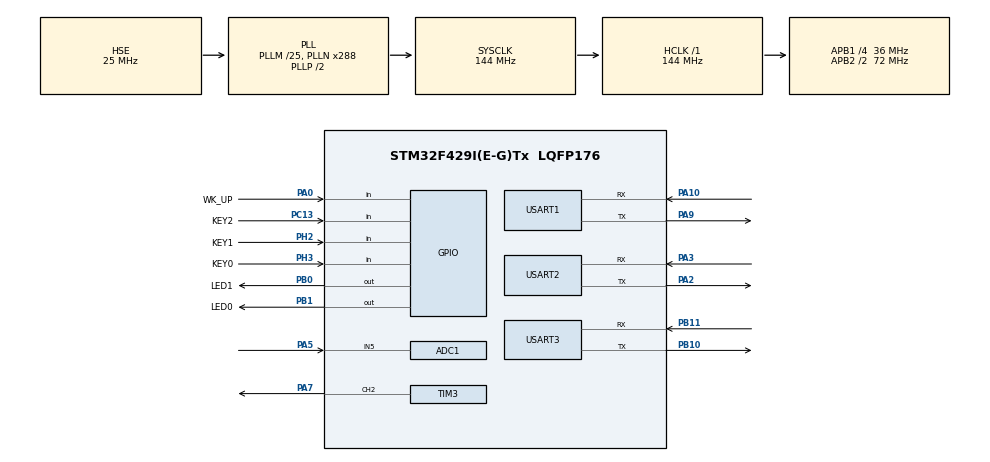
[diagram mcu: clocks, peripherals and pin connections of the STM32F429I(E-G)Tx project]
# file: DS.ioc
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ADC1.Channel-0\#ChannelRegularConversion=ADC_CHANNEL_5
ADC1.DMAContinuousRequests=DISABLE
ADC1.ExternalTrigConv=ADC_EXTERNALTRIGCONV_T2_CC2
ADC1.NbrOfConversionFlag=1
ADC1.Rank-0\#ChannelRegularConversion=1
ADC1.SamplingTime-0\#ChannelRegularConversion=ADC_SAMPLETIME_3CYCLES
ADC1.master=1
Dma.ADC1.0.Direction=DMA_PERIPH_TO_MEMORY
Dma.ADC1.0.FIFOMode=DMA_FIFOMODE_DISABLE
Dma.ADC1.0.Instance=DMA2_Stream0
Dma.ADC1.0.MemDataAlignment=DMA_MDATAALIGN_HALFWORD
Dma.ADC1.0.MemInc=DMA_MINC_ENABLE
Dma.ADC1.0.Mode=DMA_NORMAL
Dma.ADC1.0.PeriphDataAlignment=DMA_PDATAALIGN_HALFWORD
Dma.ADC1.0.PeriphInc=DMA_PINC_DISABLE
Dma.ADC1.0.Priority=DMA_PRIORITY_LOW
Dma.Request0=ADC1
Mcu.Family=STM32F4
Mcu.Name=STM32F429I(E-G)Tx
Mcu.Package=LQFP176
NVIC.ADC_IRQn=true\:0\:0\:false\:false\:true\:true\:true\:true
NVIC.DMA2_Stream0_IRQn=true\:0\:0\:false\:false\:true\:false\:true\:true
NVIC.PriorityGroup=NVIC_PRIORITYGROUP_4
NVIC.USART2_IRQn=true\:0\:0\:false\:false\:true\:true\:true\:true
NVIC.USART3_IRQn=true\:0\:0\:false\:false\:true\:true\:true\:true
PA0/WKUP.GPIO_Label=WK_UP
PA0/WKUP.GPIO_PuPd=GPIO_PULLDOWN
PA0/WKUP.Signal=GPIO_Input
PA10.Mode=Asynchronous
PA10.Signal=USART1_RX
PA13.Mode=Serial_Wire
PA13.Signal=SYS_JTMS-SWDIO
PA14.Mode=Serial_Wire
PA14.Signal=SYS_JTCK-SWCLK
PA2.Mode=Asynchronous
PA2.Signal=USART2_TX
PA3.Mode=Asynchronous
PA3.Signal=USART2_RX
PA5.Signal=ADCx_IN5
PA7.GPIO_PuPd=GPIO_PULLDOWN
PA7.Signal=S_TIM3_CH2
PA9.Mode=Asynchronous
PA9.Signal=USART1_TX
PB0.GPIO_Label=LED1
PB0.PinState=GPIO_PIN_SET
PB0.Signal=GPIO_Output
PB1.GPIO_Label=LED0
PB1.PinState=GPIO_PIN_SET
PB1.Signal=GPIO_Output
PB10.Mode=Asynchronous
PB10.Signal=USART3_TX
PB11.Mode=Asynchronous
PB11.Signal=USART3_RX
PC13.GPIO_Label=KEY2
PC13.GPIO_PuPd=GPIO_PULLUP
PC13.Signal=GPIO_Input
PH0/OSC_IN.Mode=HSE-External-Oscillator
PH0/OSC_IN.Signal=RCC_OSC_IN
PH1/OSC_OUT.Mode=HSE-External-Oscillator
PH1/OSC_OUT.Signal=RCC_OSC_OUT
PH2.GPIO_Label=KEY1
PH2.GPIO_PuPd=GPIO_PULLUP
PH2.Signal=GPIO_Input
PH3.GPIO_Label=KEY0
PH3.GPIO_PuPd=GPIO_PULLUP
PH3.Signal=GPIO_Input
ProjectManager.HeapSize=0x200
ProjectManager.StackSize=0x400
ProjectManager.TargetToolchain=MDK-ARM V5.32
RCC.48MHZClocksFreq_Value=72000000
RCC.AHBFreq_Value=144000000
RCC.APB1CLKDivider=RCC_HCLK_DIV4
RCC.APB1Freq_Value=36000000
RCC.APB1TimFreq_Value=72000000
RCC.APB2CLKDivider=RCC_HCLK_DIV2
RCC.APB2Freq_Value=72000000
RCC.APB2TimFreq_Value=144000000
RCC.CortexFreq_Value=144000000
RCC.HCLKFreq_Value=144000000
RCC.HSE_VALUE=25000000
RCC.HSI_VALUE=16000000
RCC.LSE_VALUE=32768
RCC.PLLM=25
RCC.PLLN=288
RCC.PLLSourceVirtual=RCC_PLLSOURCE_HSE
RCC.SYSCLKFreq_VALUE=144000000
RCC.SYSCLKSource=RCC_SYSCLKSOURCE_PLLCLK
RCC.VCOOutputFreq_Value=288000000
SH.ADCx_IN5.0=ADC1_IN5,IN5
SH.S_TIM3_CH2.0=TIM3_CH2,PWM Generation2 CH2
TIM2.AutoReloadPreload=TIM_AUTORELOAD_PRELOAD_DISABLE
TIM2.Channel-PWM\ Generation2\ No\ Output=TIM_CHANNEL_2
TIM2.Period=0
TIM2.TIM_MasterOutputTrigger=TIM_TRGO_UPDATE
TIM3.Channel-PWM\ Generation2\ CH2=TIM_CHANNEL_2
TIM3.Period=200-1
TIM3.Prescaler=72-1
TIM3.Pulse-PWM\ Generation2\ CH2=100
USART1.VirtualMode=VM_ASYNC
USART2.VirtualMode=VM_ASYNC
USART3.VirtualMode=VM_ASYNC
VP_TIM2_VS_ClockSourceINT.Mode=Internal
VP_TIM2_VS_no_output2.Mode=PWM Generation2 No Output
VP_TIM3_VS_ClockSourceINT.Mode=Internal
board=custom

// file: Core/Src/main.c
/* USER CODE BEGIN Header */
/**
  ******************************************************************************
  * @file           : main.c
  * @brief          : Main program body
  ******************************************************************************
  * @attention
  *
  * Copyright (c) 2023 STMicroelectronics.
  * All rights reserved.
  *
  * This software is licensed under terms that can be found in the LICENSE file
  * in the root directory of this software component.
  * If no LICENSE file comes with this software, it is provided AS-IS.
  *
  ******************************************************************************
  */
/* USER CODE END Header */
#include "main.h"
#include "adc.h"
#include "dma.h"
#include "tim.h"
#include "usart.h"
#include "gpio.h"

/* USER CODE BEGIN Includes */
#include "delay.h"
#include "my_math.h"
#include "windowfunction.h"

#include "Key.h"
#include "UART_HMI.h"

/* USER CODE END Includes */

void SystemClock_Config(void);

/* USER CODE BEGIN 0 */
#define ASK 1
#define FSK 2
#define PSK 3

uint8_t mode=0,danfeng=0,mode_zu[100],count_ASK=0,count_PSK=0,count_FSK=0,count;
uint16_t num_zero=0;
int max_value_index=0,feng_value_index,feng_value_zu[400];
float feng_value[400],max_value=0;;
int sub_1_index,sub_2_index,sub_3_index,sub_4_index,sub_5_index;
float sub_1_value=0,sub_2_value=0,sub_3_value=0,sub_4_value=0,sub_5_value=0;

float Amplitude_Data[FFT_CALCULATE_NUM]; // 各个频率分量幅值(FFT后)	// 补0

float THDx = 0.0f;           // 失真度测量值
float NormalizedAm[4] = {0}; // 归一化幅值：2-5次谐波
float Phase[5] = {0};        // 各分量相位（占位，还没用上）
uint16_t Fx_Vpp[5] = {0};    // 幅值
uint32_t Freq_Base;
uint8_t feng_num=0;

uint8_t pwm_flag=0;

/* USER CODE END 0 */

int main(void)
{

  /* MCU Configuration--------------------------------------------------------*/

  /* Reset of all peripherals, Initializes the Flash interface and the Systick. */
  HAL_Init();

  /* Configure the system clock */
  SystemClock_Config();

  /* Initialize all configured peripherals */
  MX_GPIO_Init();
  MX_DMA_Init();
  MX_ADC1_Init();
  MX_USART1_UART_Init();
  MX_TIM2_Init();
  MX_USART2_UART_Init();
  MX_USART3_UART_Init();
  MX_TIM3_Init();
  /* USER CODE BEGIN 2 */
	delay_init(144);
	printf("HELLO\r\n");
//    HMI_printf("\xFF");
	__HAL_DMA_DISABLE_IT((&hadc1)->DMA_Handle, DMA_IT_HT);  //关掉DMA半中断

	HAL_UARTEx_ReceiveToIdle_IT(&huart2, HMI_RX.Buffer, BUFFER_SIZE);

    HAL_TIM_PWM_Start(&htim3,TIM_CHANNEL_2);

    __HAL_TIM_SetCompare(&htim3,TIM_CHANNEL_2,199);
    __HAL_TIM_SET_AUTORELOAD(&htim3,199);

//    __HAL_TIM_SetCompare(&htim3,TIM_CHANNEL_2,99);
//    __HAL_TIM_SET_AUTORELOAD(&htim3,199);
//
//    __HAL_TIM_SetCompare(&htim3,TIM_CHANNEL_2,124);
//    __HAL_TIM_SET_AUTORELOAD(&htim3,249);
  /* USER CODE END 2 */

  /* Infinite loop */
  /* USER CODE BEGIN WHILE */
  while (1)
  {
        HMI_RX_proc();
        if(pwm_flag)
        {
            switch(pwm_freq)
            {
                case 1:
                    __HAL_TIM_SetCompare(&htim3,TIM_CHANNEL_2,199);
                    __HAL_TIM_SET_AUTORELOAD(&htim3,199);
//                __HAL_TIM_SET_COUNTER(&htim3, 0xFFFF);

                break;
                case 2:
                    __HAL_TIM_SetCompare(&htim3,TIM_CHANNEL_2,166);
                    __HAL_TIM_SET_AUTORELOAD(&htim3,332);
//                __HAL_TIM_SET_COUNTER(&htim3, 0xFFFF);
                break;
                case 3:
                    __HAL_TIM_SetCompare(&htim3,TIM_CHANNEL_2,124);
                    __HAL_TIM_SET_AUTORELOAD(&htim3,249);
//                __HAL_TIM_SET_COUNTER(&htim3, 0xFFFF);
                break;
                case 4:
                    __HAL_TIM_SetCompare(&htim3,TIM_CHANNEL_2,99);
                    __HAL_TIM_SET_AUTORELOAD(&htim3,199);
//                __HAL_TIM_SET_COUNTER(&htim3, 0xFFFF);
                break;
            }
            printf("{ARR}%d\r\n",TIM3->ARR);
            printf("{pwm_freq}%d\r\n",pwm_freq);
        }
        else
        {
            __HAL_TIM_SetCompare(&htim3,TIM_CHANNEL_2,0);
            __HAL_TIM_SET_AUTORELOAD(&htim3,199);
//            __HAL_TIM_SET_COUNTER(&htim3, 0xFFFF);
        }

        if(start_flag){
            HAL_GPIO_WritePin(GPIOB, LED0_Pin, 1);
            for(int k = 0;k < 100;k++){
                Adc_Fs_Change_F(1900000);
                Adc_Start();
                Window_Function_Init(Hanning, ADC_SAMPLING_NUM); // Boxcar, Triang, Hanning, Hamming, Blackman, Flattop
                CalculateAmplitude_By_FFT(Amplitude_Data, Signal_ADC_Data);
//        		for(int i = 0; i < FFT_CALCULATE_NUM/2; i++) {
//        			printf("{Amplitude_Data}%.1f\r\n", Amplitude_Data[i]);
//        		}

                for(int i = 3,j=0; i < FFT_CALCULATE_NUM/2-500; i++) {
                    feng_value_index = Max_Float_WithinRange(Amplitude_Data, i-3, i+3);
                    if(feng_value_index==i)
                    {
                        feng_value_zu[j]=feng_value_index;
                        feng_value[j++] = Amplitude_Data[feng_value_index];
//                        printf("{feng_value}%.1f\r\n", feng_value[j-1]);
//                        printf("{feng_value_zu}%d\r\n", feng_value_zu[j-1]);
                    }
                }
                max_value_index=Max_Unsigned(Amplitude_Data,FFT_CALCULATE_NUM/2);
                max_value=Amplitude_Data[max_value_index];

                for(int i = 0; i < 400; i++)
                    if(feng_value[i]>sub_1_value)
                    {
                        if(feng_value_zu[i]!=max_value_index){
                            sub_1_value=feng_value[i];
                            sub_1_index=feng_value_zu[i];
                        }
                    }
                for(int i = 0; i < 400; i++)
                    if(feng_value[i]>sub_2_value)
                    {
                        if(feng_value_zu[i]!=max_value_index&&feng_value_zu[i]!=sub_1_index){
                        sub_2_value=feng_value[i];
                        sub_2_index=feng_value_zu[i];
                        }
                    }
                for(int i = 0; i < 400; i++)
                    if(feng_value[i]>sub_3_value)
                    {
                        if(feng_value_zu[i]!=max_value_index&&feng_value_zu[i]!=sub_1_index&&feng_value_zu[i]!=sub_2_index){
                        sub_3_value=feng_value[i];
                        sub_3_index=feng_value_zu[i];
                        }
                    }
                for(int i = 0; i < 400; i++)
                    if(feng_value[i]>sub_4_value)
                    {
                        if(feng_value_zu[i]!=max_value_index&&feng_value_zu[i]!=sub_1_index&&feng_value_zu[i]!=sub_2_index&&feng_value_zu[i]!=sub_3_index){
                        sub_4_value=feng_value[i];
                        sub_4_index=feng_value_zu[i];
                        }
                    }
                for(int i = 0; i < 400; i++)
                    if(feng_value[i]>sub_5_value)
                    {
                        if(feng_value_zu[i]!=max_value_index&&feng_value_zu[i]!=sub_1_index&&feng_value_zu[i]!=sub_2_index&&feng_value_zu[i]!=sub_3_index&&feng_value_zu[i]!=sub_4_index){
                        sub_5_value=feng_value[i];
                        sub_5_index=feng_value_zu[i];
                        }
                    }

        //        printf("{sub_1_value}%.1f",sub_1_value);
        //        printf("{sub_2_value}%.1f",sub_2_value);
        //        printf("{sub_3_value}%.1f",sub_3_value);
        //        printf("{sub_4_value}%.1f",sub_4_value);
        //        printf("{sub_5_value}%.1f",sub_5_value);
        //        printf("{max_value}%.1f",max_value);
        //
        //        printf("{sub_1_index}%d",sub_1_index);
        //        printf("{sub_2_index}%d",sub_2_index);
        //        printf("{sub_3_index}%d",sub_3_index);
        //        printf("{sub_4_index}%d",sub_4_index);
        //        printf("{sub_5_index}%d",sub_5_index);
        //        printf("{max_value_index}%d",max_value_index);

                if(max_value_index>sub_1_index)
                {
                    if(((sub_2_index>max_value_index)||(sub_2_index<sub_1_index))&&
                        ((sub_3_index>max_value_index)||(sub_3_index<sub_1_index))&&
                        ((sub_4_index>max_value_index)||(sub_4_index<sub_1_index))&&
                        ((sub_5_index>max_value_index)||(sub_5_index<sub_1_index))
                    )
                        danfeng=1;
                    else
                        danfeng=0;

                }
                else if(max_value_index<sub_1_index)
                {
                    if(((sub_2_index>sub_1_index)||(sub_2_index<max_value_index))&&
                        ((sub_3_index>sub_1_index)||(sub_3_index<max_value_index))&&
                        ((sub_4_index>sub_1_index)||(sub_4_index<max_value_index))&&
                        ((sub_5_index>sub_1_index)||(sub_5_index<max_value_index))
                    )
                        danfeng=1;
                    else
                        danfeng=0;

                }
                //printf("{danfeng}%d\r\n",danfeng);
                if(danfeng==1)
                {
                    if(((max_value-sub_1_value)>(sub_1_value-sub_2_value))&&((sub_1_value-sub_2_value)<(sub_2_value-sub_3_value)))
                    {
                        if((sub_2_value+sub_3_value)/2<(max_value+sub_1_value)/4)
                            mode=ASK;
                    }
                    else if((max_value-sub_1_value)<(sub_1_value-sub_2_value))
                    {
                        if((Amplitude_Data[(max_value_index+sub_1_index)/2]+Amplitude_Data[(max_value_index+sub_1_index)/2-1]+Amplitude_Data[(max_value_index+sub_1_index)/2+1])/3<(max_value+sub_1_value)/6)
                            mode=PSK;
                        else
                        {
                            if((sub_2_value+sub_3_value)/2<(max_value+sub_1_value)/4)
                                mode=ASK;
                        }

                    }
                    else
                    {
                        mode=ASK;
                    }
                }
                else
                {
                        mode=FSK;
                }

                mode_zu[count%100]=mode;
                if(++count==100) count=0;
                for(int i=0;i<100;i++)
                {
                    if(mode_zu[i]==ASK)
                        count_ASK++;
                    else if(mode_zu[i]==PSK)
                        count_PSK++;
                    else if(mode_zu[i]==FSK)
                        count_FSK++;
                }
                if(count_ASK>count_PSK&&count_ASK>count_FSK)
                {
                    mode=ASK;
                }
                else
                {
                    if(count_FSK>count_PSK)
                        mode=FSK;
                    else
                        mode=PSK;

                    if(count_FSK>40&&count_PSK>40)
                        mode=PSK;

                }

//                printf("{count_FSK}%d\r\n",count_FSK);
//                printf("{count_ASK}%d\r\n",count_ASK);
//                printf("{count_PSK}%d\r\n",count_PSK);
//                switch(mode)
//                {
//                    case ASK:
//                        printf("{MODE}ASK\r\n");
//                        HMI_printf("\x01");
//                        pwm_flag=0;
//                    break;
//                    case FSK:
//                        printf("{MODE}FSK\r\n");
//                        HMI_printf("\x02");
//                        pwm_flag=0;
//                    break;
//                    case PSK:
//                        printf("{MODE}PSK\r\n");
//                        HMI_printf("\x03");
//                        pwm_flag=1;
//                    break;
//                }

                memset(feng_value,0,400);
                memset(feng_value_zu,0,400);
                max_value=0;
                sub_1_value=0,sub_2_value=0,sub_3_value=0,sub_4_value=0,sub_5_value=0;
                count_ASK=0,count_PSK=0,count_FSK=0;
            }
            switch(mode)
            {
                case ASK:
//                    printf("{MODE}ASK\r\n");
                    HMI_printf("\x01");
                    pwm_flag=0;
                break;
                case FSK:
//                    printf("{MODE}FSK\r\n");
                    HMI_printf("\x02");
                    pwm_flag=0;
                break;
                case PSK:
//                    printf("{MODE}PSK\r\n");
                    HMI_printf("\x03");
                    pwm_flag=1;
                break;
            }
            start_flag = 0;
        }
        else
        {
            HAL_GPIO_WritePin(GPIOB, LED0_Pin, 0);
        }
    /* USER CODE END WHILE */

    /* USER CODE BEGIN 3 */
		//while(1);
  }
  /* USER CODE END 3 */
}

void SystemClock_Config(void)
{
  RCC_OscInitTypeDef RCC_OscInitStruct = {0};
  RCC_ClkInitTypeDef RCC_ClkInitStruct = {0};

  /** Configure the main internal regulator output voltage
  */
  __HAL_RCC_PWR_CLK_ENABLE();
  __HAL_PWR_VOLTAGESCALING_CONFIG(PWR_REGULATOR_VOLTAGE_SCALE1);

  /** Initializes the RCC Oscillators according to the specified parameters
  * in the RCC_OscInitTypeDef structure.
  */
  RCC_OscInitStruct.OscillatorType = RCC_OSCILLATORTYPE_HSE;
  RCC_OscInitStruct.HSEState = RCC_HSE_ON;
  RCC_OscInitStruct.PLL.PLLState = RCC_PLL_ON;
  RCC_OscInitStruct.PLL.PLLSource = RCC_PLLSOURCE_HSE;
  RCC_OscInitStruct.PLL.PLLM = 25;
  RCC_OscInitStruct.PLL.PLLN = 288;
  RCC_OscInitStruct.PLL.PLLP = RCC_PLLP_DIV2;
  RCC_OscInitStruct.PLL.PLLQ = 4;
  if (HAL_RCC_OscConfig(&RCC_OscInitStruct) != HAL_OK)
  {
    Error_Handler();
  }

  /** Initializes the CPU, AHB and APB buses clocks
  */
  RCC_ClkInitStruct.ClockType = RCC_CLOCKTYPE_HCLK|RCC_CLOCKTYPE_SYSCLK
                              |RCC_CLOCKTYPE_PCLK1|RCC_CLOCKTYPE_PCLK2;
  RCC_ClkInitStruct.SYSCLKSource = RCC_SYSCLKSOURCE_PLLCLK;
  RCC_ClkInitStruct.AHBCLKDivider = RCC_SYSCLK_DIV1;
  RCC_ClkInitStruct.APB1CLKDivider = RCC_HCLK_DIV4;
  RCC_ClkInitStruct.APB2CLKDivider = RCC_HCLK_DIV2;

  if (HAL_RCC_ClockConfig(&RCC_ClkInitStruct, FLASH_LATENCY_4) != HAL_OK)
  {
    Error_Handler();
  }
}

/* USER CODE BEGIN 4 */

/**
  * @brief 串口接收回调(IDLE)
  */
void HAL_UARTEx_RxEventCallback(UART_HandleTypeDef *huart, uint16_t Size) {
	if (huart == &huart2) {
		HMI_RX.Size = Size;
		HMI_RX.Flag = 1;

		HAL_UARTEx_ReceiveToIdle_IT(&huart2, HMI_RX.Buffer, BUFFER_SIZE);
	}

}
/* USER CODE END 4 */

void Error_Handler(void)
{
  __disable_irq();
  while (1)
  {
  }
}
